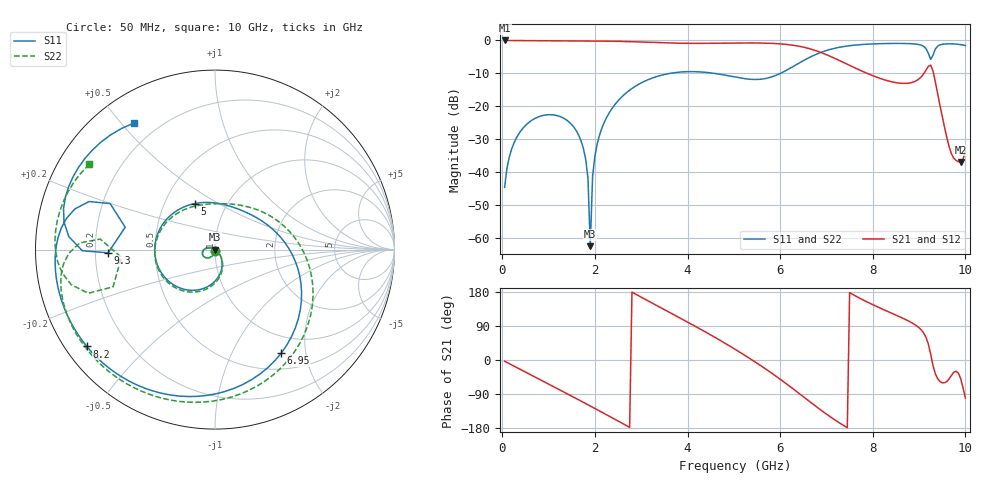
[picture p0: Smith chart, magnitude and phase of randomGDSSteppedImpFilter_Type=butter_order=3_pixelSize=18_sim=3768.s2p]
! freq	dB(S11)	phase(S11)	dB(S12)	phase(S12)
!  dB(S21)	phase(S21)	dB(S22)	phase(S22)
!S-par simulation data
#  GHz  S  DB  R 50
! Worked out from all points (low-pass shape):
!   200 points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, 50 MHz to 10 GHz, reference 50 ohm
!   highest |S21| = -0.01 dB at 50 MHz (marker M1); lowest = -36.9 dB at 9.9 GHz (marker M2)
!   |S21| within 3 dB of the highest: start of sweep to 6.749 GHz
!   lowest |S11| = -62.5 dB at 1.9 GHz (marker M3), VSWR 1.00, Z = 50.1 + j0.0444 ohm
!   |S11| at or under -10 dB: start of sweep to 3.625 GHz; 4.575 GHz to 6.006 GHz (1.432 GHz wide, 27.1 % of centre)
!   |S22| runs from -55.7 to -0.9 dB; largest |S21 - S12| = 0
!   S11 on the Smith chart (normalised r, x): 50 MHz: 1.00, -0.01; 5 GHz: 0.71, +0.39; 6.95 GHz: 0.72, -1.58; 8.2 GHz: 0.06, -0.33; 9.3 GHz: 0.25, -0.01; 10 GHz: 0.12, +0.54
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0.05  -44.64 -90.9  -0.01 -3.2  -0.01 -3.2  -44.63 -90.7
0.25  -31.22 -105.4  -0.03 -16.0  -0.03 -16.0  -31.22 -105.0
0.7  -23.74 -135.4  -0.08 -44.5  -0.08 -44.5  -23.74 -134.3
1.75  -32.72 155.5  -0.14 -111.6  -0.14 -111.6  -32.77 162.1
1.85  -41.84 146.3  -0.15 -118.1  -0.15 -118.1  -41.94 162.7
1.9  -62.49 36.2  -0.15 -121.4  -0.15 -121.4  -55.72 -106.4
1.95  -41.24 -32.5  -0.15 -124.7  -0.15 -124.7  -40.91 -44.2
2.15  -26.67 -49.1  -0.18 -137.8  -0.18 -137.8  -26.62 -49.2
3.4  -10.70 -133.4  -0.69 139.4  -0.69 139.4  -10.69 -128.5
4.2  -9.51 172.7  -0.89 86.7  -0.89 86.7  -9.48 -179.1
5  -11.06 113.5  -0.78 30.3  -0.78 30.3  -11.04 127.5
5.05  -11.19 109.5  -0.78 26.6  -0.78 26.6  -11.17 124.0
6.05  -9.70 23.7  -1.09 -55.1  -1.09 -55.1  -9.72 42.2
6.7  -4.70 -35.2  -2.79 -115.6  -2.79 -115.6  -4.70 -20.6
6.95  -3.28 -57.5  -4.05 -138.5  -4.05 -138.5  -3.27 -43.7
8.2  -0.96 -142.9  -11.73 134.7  -11.73 134.7  -0.93 -128.5
8.35  -0.92 -151.0  -12.36 126.6  -12.36 126.6  -0.89 -136.2
9.15  -2.49 159.1  -9.01 59.7  -9.01 59.7  -2.45 177.2
9.3  -4.50 -178.3  -9.22 -14.3  -9.22 -14.3  -4.37 -159.9
9.65  -1.02 152.8  -32.34 -49.7  -32.34 -49.7  -0.97 173.2
9.9  -1.26 132.5  -36.92 -49.7  -36.92 -49.7  -1.19 154.9
10  -1.55 122.4  -33.55 -100.4  -33.55 -100.4  -1.44 145.9
